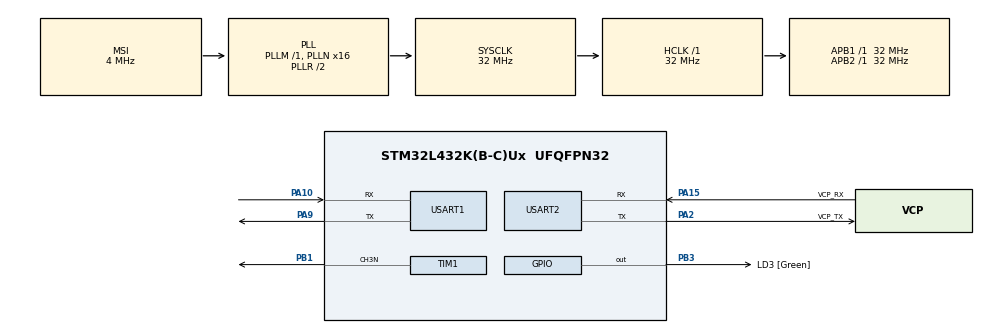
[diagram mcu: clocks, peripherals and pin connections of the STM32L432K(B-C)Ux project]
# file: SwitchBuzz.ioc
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Dma.Request0=USART1_RX
Dma.USART1_RX.0.Direction=DMA_PERIPH_TO_MEMORY
Dma.USART1_RX.0.Instance=DMA1_Channel5
Dma.USART1_RX.0.MemDataAlignment=DMA_MDATAALIGN_BYTE
Dma.USART1_RX.0.MemInc=DMA_MINC_ENABLE
Dma.USART1_RX.0.Mode=DMA_CIRCULAR
Dma.USART1_RX.0.PeriphDataAlignment=DMA_PDATAALIGN_BYTE
Dma.USART1_RX.0.PeriphInc=DMA_PINC_DISABLE
Dma.USART1_RX.0.Priority=DMA_PRIORITY_LOW
FREERTOS.Tasks01=t1_Buzzer,24,128,START_Buzzer,Default,NULL,Dynamic,NULL,NULL;t2_Listener,8,128,START_Listener,Default,NULL,Dynamic,NULL,NULL;t3_Wifi_Listene,8,128,START_Wifi_Listener,Default,NULL,Dynamic,NULL,NULL;t4_Wifi_Starter,8,128,START_Wifi_Starter,Default,NULL,Dynamic,NULL,NULL
FREERTOS.configUSE_NEWLIB_REENTRANT=1
Mcu.Family=STM32L4
Mcu.Name=STM32L432K(B-C)Ux
Mcu.Package=UFQFPN32
NVIC.DMA1_Channel5_IRQn=true\:5\:0\:false\:false\:true\:true\:false\:true\:true
NVIC.PriorityGroup=NVIC_PRIORITYGROUP_4
NVIC.TIM6_DAC_IRQn=true\:15\:0\:false\:false\:true\:false\:false\:true\:true
NVIC.TimeBase=TIM6_DAC_IRQn
NVIC.TimeBaseIP=TIM6
NVIC.USART1_IRQn=true\:5\:0\:false\:false\:true\:true\:true\:true\:true
NVIC.USART2_IRQn=true\:5\:0\:false\:false\:true\:true\:true\:true\:true
PA0.GPIO_Label=MCO [High speed clock in]
PA0.Mode=HSE-External-Clock-Source-for-LittleOrca
PA0.Signal=RCC_CK_IN
PA10.Mode=Asynchronous
PA10.Signal=USART1_RX
PA13\ (JTMS-SWDIO).GPIO_Label=SWDIO
PA13\ (JTMS-SWDIO).Mode=Serial_Wire
PA13\ (JTMS-SWDIO).Signal=SYS_JTMS-SWDIO
PA14\ (JTCK-SWCLK).GPIO_Label=SWCLK
PA14\ (JTCK-SWCLK).Mode=Serial_Wire
PA14\ (JTCK-SWCLK).Signal=SYS_JTCK-SWCLK
PA15\ (JTDI).GPIO_Label=VCP_RX
PA15\ (JTDI).Mode=Asynchronous
PA15\ (JTDI).Signal=USART2_RX
PA2.GPIO_Label=VCP_TX
PA2.Mode=Asynchronous
PA2.Signal=USART2_TX
PA9.Mode=Asynchronous
PA9.Signal=USART1_TX
PB1.Mode=PWM Generation3 CH3N
PB1.Signal=TIM1_CH3N
PB3\ (JTDO-TRACESWO).GPIO_Label=LD3 [Green]
PB3\ (JTDO-TRACESWO).Signal=GPIO_Output
PC14-OSC32_IN\ (PC14).Mode=LSE-External-Oscillator
PC14-OSC32_IN\ (PC14).Signal=RCC_OSC32_IN
PC15-OSC32_OUT\ (PC15).Mode=LSE-External-Oscillator
PC15-OSC32_OUT\ (PC15).Signal=RCC_OSC32_OUT
ProjectManager.HeapSize=0x200
ProjectManager.StackSize=0x400
ProjectManager.TargetToolchain=STM32CubeIDE
RCC.AHBFreq_Value=32000000
RCC.APB1Freq_Value=32000000
RCC.APB1TimFreq_Value=32000000
RCC.APB2Freq_Value=32000000
RCC.APB2TimFreq_Value=32000000
RCC.CortexFreq_Value=32000000
RCC.HCLKFreq_Value=32000000
RCC.HSE_VALUE=8000000
RCC.HSI16_VALUE=16000000
RCC.HSI48_VALUE=48000000
RCC.HSI_VALUE=16000000
RCC.MSI_VALUE=4000000
RCC.PLLMUL=RCC_PLLMUL_4
RCC.PLLN=16
RCC.SYSCLKFreq_VALUE=32000000
RCC.SYSCLKSource=RCC_SYSCLKSOURCE_PLLCLK
RCC.VCOOutputFreq_Value=64000000
TIM1.Channel-PWM\ Generation3\ CH3N=TIM_CHANNEL_3
TIM1.Period=2000
TIM1.Prescaler=32
TIM1.Pulse-PWM\ Generation3\ CH3N=500-1
USART1.VirtualMode-Asynchronous=VM_ASYNC
USART2.VirtualMode-Asynchronous=VM_ASYNC
VP_FREERTOS_VS_CMSIS_V2.Mode=CMSIS_V2
VP_SYS_VS_tim6.Mode=TIM6
VP_TIM1_VS_ClockSourceINT.Mode=Internal
board=NUCLEO-L432KC

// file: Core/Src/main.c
/* USER CODE BEGIN Header */
/**
  ******************************************************************************
  * @file           : main.c
  * @brief          : Main program body
  ******************************************************************************
  * @attention
  *
  * Copyright (c) 2023 STMicroelectronics.
  * All rights reserved.
  *
  * This software is licensed under terms that can be found in the LICENSE file
  * in the root directory of this software component.
  * If no LICENSE file comes with this software, it is provided AS-IS.
  *
  ******************************************************************************
  */
/* USER CODE END Header */
#include "main.h"
#include "cmsis_os.h"

/* USER CODE BEGIN Includes */
#include "stdio.h"
#include "wifiClick.h"
#include "printf.h"
/* USER CODE END Includes */

TIM_HandleTypeDef htim1;

UART_HandleTypeDef huart1;
UART_HandleTypeDef huart2;
DMA_HandleTypeDef hdma_usart1_rx;

/* Definitions for t1_Buzzer */
osThreadId_t t1_BuzzerHandle;
const osThreadAttr_t t1_Buzzer_attributes = {
  .name = "t1_Buzzer",
  .stack_size = 128 * 4,
  .priority = (osPriority_t) osPriorityNormal,
};
/* Definitions for t2_Listener */
osThreadId_t t2_ListenerHandle;
const osThreadAttr_t t2_Listener_attributes = {
  .name = "t2_Listener",
  .stack_size = 128 * 4,
  .priority = (osPriority_t) osPriorityLow,
};
/* Definitions for t3_Wifi_Listene */
osThreadId_t t3_Wifi_ListeneHandle;
const osThreadAttr_t t3_Wifi_Listene_attributes = {
  .name = "t3_Wifi_Listene",
  .stack_size = 128 * 4,
  .priority = (osPriority_t) osPriorityLow,
};
/* Definitions for t4_Wifi_Starter */
osThreadId_t t4_Wifi_StarterHandle;
const osThreadAttr_t t4_Wifi_Starter_attributes = {
  .name = "t4_Wifi_Starter",
  .stack_size = 128 * 4,
  .priority = (osPriority_t) osPriorityLow,
};
/* USER CODE BEGIN PV */
/* * * * * * * * * * * * * * * * * * * * * * * * * * * * * * * * * *
 *																   *
 *  Clock Frequency: 80MHz										   *
 *  PWM Transmission Time for one 1 Bit: 1.25us					   *
 * 	PWM Frequency: 1/1.25us = 800kHz							   *
 * 	TIM1 Auto Reload Register: 800kHz/800kHz=100				   *
 * 	TIM1 Capture Compare Register: 57/31						   *
 *																   *
 * * * * * * * * * * * * * * * * * * * * * * * * * * * * * * * * * *
 *
 * 	Received Data Codes
 * 	==================
 * 	a = middle --> 500
 * 	b = out of scope --> 5.000
 * 	c = shake detected --> 10.000
 * 	d = light shift lo --> 1000
 * 	e = light shift lu --> 1000 - 42*1
 * 	f = light shift ro --> 1000
 * 	g = light shift ru --> 1000 - 42*1
 * 	h = strong shift r1c1 --> 2000
 * 	i = strong shift r1c2 --> 2000 - 84*1
 * 	j = strong shift r1c3 --> 2000 - 84*2
 * 	k = strong shift r1c4 --> 2000 - 84*3
 * 	l = strong shift r2c1 --> 2000 - 84*4
 * 	m = strong shift r2c4 --> 2000 - 84*5
 * 	n = strong shift r3c1 --> 2000 - 84*4
 * 	o = strong shift r3c4 --> 2000 - 84*5
 * 	p = strong shift r4c1 --> 2000
 * 	q = strong shift r4c2 --> 2000 - 84*1
 * 	r = strong shift r4c3 --> 2000 - 84*2
 * 	s = strong shift r4c4 --> 2000 - 84*3
 *
 */
/**
 * rx_x variables are used in the f4_set_TIM_Register() function, which is called in the START_Buzzer task
 * based on the fields of the 4x4 RGB-Click, the rx_x variables are used to set an according sound by changing the ARR-value of TIM
 * the sounds between the levels "middle - light shift - strong shift" are one octave apart. The sounds within a level vary by half-tone steps
 */
const int rx_a = 500;
const int rx_b = 5000;
const int rx_c = 10000;
const int rx_d = 1000;
const int rx_e = 1000 - (42*1);
const int rx_f = 1000;
const int rx_g = 1000 - (42*1);
const int rx_h = 2000;
const int rx_i = 2000 - 84*1;
const int rx_j = 2000 - 84*2;
const int rx_k = 2000 - 84*3;
const int rx_l = 2000 - 84*4;
const int rx_m = 2000 - 84*5;
const int rx_n = 2000 - 84*4;
const int rx_o = 2000 - 84*5;
const int rx_p = 2000;
const int rx_q = 2000 - 84*1;
const int rx_r = 2000 - 84*2;
const int rx_s = 2000 - 84*3;

/**
 * @param rx_wifi: will be written during runtime by the Wifi_Click.
 * It is the comparison variable used in the switch-case block of the t3_Wifi_Listener task
 */
volatile char rx_wifi = 0;
/**
 * @param rx_uart: will receive values via UART during runtime.
 * It is the comparison variable used in the switch-case block of the t1_Buzzer task
 */
volatile char rx_uart = 0;
/* USER CODE END PV */

void SystemClock_Config(void);
static void MX_GPIO_Init(void);
static void MX_DMA_Init(void);
static void MX_USART2_UART_Init(void);
static void MX_TIM1_Init(void);
static void MX_USART1_UART_Init(void);
void START_Buzzer(void *argument);
void START_Listener(void *argument);
void START_Wifi_Listener(void *argument);
void START_Wifi_Starter(void *argument);

/* USER CODE BEGIN PFP */
void f4_set_TIM_Register(int x);
void f4_send_UART();

/* USER CODE END PFP */

int main(void)
{

  /* MCU Configuration--------------------------------------------------------*/

  /* Reset of all peripherals, Initializes the Flash interface and the Systick. */
  HAL_Init();

  /* Configure the system clock */
  SystemClock_Config();

  /* Initialize all configured peripherals */
  MX_GPIO_Init();
  MX_DMA_Init();
  MX_USART2_UART_Init();
  MX_TIM1_Init();
  MX_USART1_UART_Init();

  /* Init scheduler */
  osKernelInitialize();

  /* Create the thread(s) */
  /* creation of t1_Buzzer */
  t1_BuzzerHandle = osThreadNew(START_Buzzer, NULL, &t1_Buzzer_attributes);

  /* creation of t2_Listener */
  t2_ListenerHandle = osThreadNew(START_Listener, NULL, &t2_Listener_attributes);

  /* creation of t3_Wifi_Listene */
  t3_Wifi_ListeneHandle = osThreadNew(START_Wifi_Listener, NULL, &t3_Wifi_Listene_attributes);

  /* creation of t4_Wifi_Starter */
  t4_Wifi_StarterHandle = osThreadNew(START_Wifi_Starter, NULL, &t4_Wifi_Starter_attributes);

  /* Start scheduler */
  osKernelStart();

  /* We should never get here as control is now taken by the scheduler */
  /* Infinite loop */
  while (1)
  {

  }
}

void SystemClock_Config(void)
{
  RCC_OscInitTypeDef RCC_OscInitStruct = {0};
  RCC_ClkInitTypeDef RCC_ClkInitStruct = {0};

  /** Configure the main internal regulator output voltage
  */
  if (HAL_PWREx_ControlVoltageScaling(PWR_REGULATOR_VOLTAGE_SCALE1) != HAL_OK)
  {
    Error_Handler();
  }

  /** Configure LSE Drive Capability
  */
  HAL_PWR_EnableBkUpAccess();
  __HAL_RCC_LSEDRIVE_CONFIG(RCC_LSEDRIVE_LOW);

  /** Initializes the RCC Oscillators according to the specified parameters
  * in the RCC_OscInitTypeDef structure.
  */
  RCC_OscInitStruct.OscillatorType = RCC_OSCILLATORTYPE_LSE|RCC_OSCILLATORTYPE_MSI;
  RCC_OscInitStruct.LSEState = RCC_LSE_ON;
  RCC_OscInitStruct.MSIState = RCC_MSI_ON;
  RCC_OscInitStruct.MSICalibrationValue = 0;
  RCC_OscInitStruct.MSIClockRange = RCC_MSIRANGE_6;
  RCC_OscInitStruct.PLL.PLLState = RCC_PLL_ON;
  RCC_OscInitStruct.PLL.PLLSource = RCC_PLLSOURCE_MSI;
  RCC_OscInitStruct.PLL.PLLM = 1;
  RCC_OscInitStruct.PLL.PLLN = 16;
  RCC_OscInitStruct.PLL.PLLP = RCC_PLLP_DIV7;
  RCC_OscInitStruct.PLL.PLLQ = RCC_PLLQ_DIV2;
  RCC_OscInitStruct.PLL.PLLR = RCC_PLLR_DIV2;
  if (HAL_RCC_OscConfig(&RCC_OscInitStruct) != HAL_OK)
  {
    Error_Handler();
  }

  /** Initializes the CPU, AHB and APB buses clocks
  */
  RCC_ClkInitStruct.ClockType = RCC_CLOCKTYPE_HCLK|RCC_CLOCKTYPE_SYSCLK
                              |RCC_CLOCKTYPE_PCLK1|RCC_CLOCKTYPE_PCLK2;
  RCC_ClkInitStruct.SYSCLKSource = RCC_SYSCLKSOURCE_PLLCLK;
  RCC_ClkInitStruct.AHBCLKDivider = RCC_SYSCLK_DIV1;
  RCC_ClkInitStruct.APB1CLKDivider = RCC_HCLK_DIV1;
  RCC_ClkInitStruct.APB2CLKDivider = RCC_HCLK_DIV1;

  if (HAL_RCC_ClockConfig(&RCC_ClkInitStruct, FLASH_LATENCY_1) != HAL_OK)
  {
    Error_Handler();
  }

  /** Enable MSI Auto calibration
  */
  HAL_RCCEx_EnableMSIPLLMode();
}

static void MX_TIM1_Init(void)
{

  TIM_ClockConfigTypeDef sClockSourceConfig = {0};
  TIM_MasterConfigTypeDef sMasterConfig = {0};
  TIM_OC_InitTypeDef sConfigOC = {0};
  TIM_BreakDeadTimeConfigTypeDef sBreakDeadTimeConfig = {0};

  htim1.Instance = TIM1;
  htim1.Init.Prescaler = 32;
  htim1.Init.CounterMode = TIM_COUNTERMODE_UP;
  htim1.Init.Period = 2000;
  htim1.Init.ClockDivision = TIM_CLOCKDIVISION_DIV1;
  htim1.Init.RepetitionCounter = 0;
  htim1.Init.AutoReloadPreload = TIM_AUTORELOAD_PRELOAD_DISABLE;
  if (HAL_TIM_Base_Init(&htim1) != HAL_OK)
  {
    Error_Handler();
  }
  sClockSourceConfig.ClockSource = TIM_CLOCKSOURCE_INTERNAL;
  if (HAL_TIM_ConfigClockSource(&htim1, &sClockSourceConfig) != HAL_OK)
  {
    Error_Handler();
  }
  if (HAL_TIM_PWM_Init(&htim1) != HAL_OK)
  {
    Error_Handler();
  }
  sMasterConfig.MasterOutputTrigger = TIM_TRGO_RESET;
  sMasterConfig.MasterOutputTrigger2 = TIM_TRGO2_RESET;
  sMasterConfig.MasterSlaveMode = TIM_MASTERSLAVEMODE_DISABLE;
  if (HAL_TIMEx_MasterConfigSynchronization(&htim1, &sMasterConfig) != HAL_OK)
  {
    Error_Handler();
  }
  sConfigOC.OCMode = TIM_OCMODE_PWM1;
  sConfigOC.Pulse = 500-1;
  sConfigOC.OCPolarity = TIM_OCPOLARITY_HIGH;
  sConfigOC.OCNPolarity = TIM_OCNPOLARITY_HIGH;
  sConfigOC.OCFastMode = TIM_OCFAST_DISABLE;
  sConfigOC.OCIdleState = TIM_OCIDLESTATE_RESET;
  sConfigOC.OCNIdleState = TIM_OCNIDLESTATE_RESET;
  if (HAL_TIM_PWM_ConfigChannel(&htim1, &sConfigOC, TIM_CHANNEL_3) != HAL_OK)
  {
    Error_Handler();
  }
  sBreakDeadTimeConfig.OffStateRunMode = TIM_OSSR_DISABLE;
  sBreakDeadTimeConfig.OffStateIDLEMode = TIM_OSSI_DISABLE;
  sBreakDeadTimeConfig.LockLevel = TIM_LOCKLEVEL_OFF;
  sBreakDeadTimeConfig.DeadTime = 0;
  sBreakDeadTimeConfig.BreakState = TIM_BREAK_DISABLE;
  sBreakDeadTimeConfig.BreakPolarity = TIM_BREAKPOLARITY_HIGH;
  sBreakDeadTimeConfig.BreakFilter = 0;
  sBreakDeadTimeConfig.Break2State = TIM_BREAK2_DISABLE;
  sBreakDeadTimeConfig.Break2Polarity = TIM_BREAK2POLARITY_HIGH;
  sBreakDeadTimeConfig.Break2Filter = 0;
  sBreakDeadTimeConfig.AutomaticOutput = TIM_AUTOMATICOUTPUT_DISABLE;
  if (HAL_TIMEx_ConfigBreakDeadTime(&htim1, &sBreakDeadTimeConfig) != HAL_OK)
  {
    Error_Handler();
  }
  HAL_TIM_MspPostInit(&htim1);

}

static void MX_USART1_UART_Init(void)
{

  huart1.Instance = USART1;
  huart1.Init.BaudRate = 115200;
  huart1.Init.WordLength = UART_WORDLENGTH_8B;
  huart1.Init.StopBits = UART_STOPBITS_1;
  huart1.Init.Parity = UART_PARITY_NONE;
  huart1.Init.Mode = UART_MODE_TX_RX;
  huart1.Init.HwFlowCtl = UART_HWCONTROL_NONE;
  huart1.Init.OverSampling = UART_OVERSAMPLING_16;
  huart1.Init.OneBitSampling = UART_ONE_BIT_SAMPLE_DISABLE;
  huart1.AdvancedInit.AdvFeatureInit = UART_ADVFEATURE_NO_INIT;
  if (HAL_UART_Init(&huart1) != HAL_OK)
  {
    Error_Handler();
  }

}

static void MX_USART2_UART_Init(void)
{

  huart2.Instance = USART2;
  huart2.Init.BaudRate = 115200;
  huart2.Init.WordLength = UART_WORDLENGTH_8B;
  huart2.Init.StopBits = UART_STOPBITS_1;
  huart2.Init.Parity = UART_PARITY_NONE;
  huart2.Init.Mode = UART_MODE_TX_RX;
  huart2.Init.HwFlowCtl = UART_HWCONTROL_NONE;
  huart2.Init.OverSampling = UART_OVERSAMPLING_16;
  huart2.Init.OneBitSampling = UART_ONE_BIT_SAMPLE_DISABLE;
  huart2.AdvancedInit.AdvFeatureInit = UART_ADVFEATURE_NO_INIT;
  if (HAL_UART_Init(&huart2) != HAL_OK)
  {
    Error_Handler();
  }

}

static void MX_DMA_Init(void)
{

  /* DMA controller clock enable */
  __HAL_RCC_DMA1_CLK_ENABLE();

  /* DMA interrupt init */
  /* DMA1_Channel5_IRQn interrupt configuration */
  HAL_NVIC_SetPriority(DMA1_Channel5_IRQn, 5, 0);
  HAL_NVIC_EnableIRQ(DMA1_Channel5_IRQn);

}

static void MX_GPIO_Init(void)
{
  GPIO_InitTypeDef GPIO_InitStruct = {0};

  /* GPIO Ports Clock Enable */
  __HAL_RCC_GPIOC_CLK_ENABLE();
  __HAL_RCC_GPIOA_CLK_ENABLE();
  __HAL_RCC_GPIOB_CLK_ENABLE();

  /*Configure GPIO pin Output Level */
  HAL_GPIO_WritePin(LD3_GPIO_Port, LD3_Pin, GPIO_PIN_RESET);

  /*Configure GPIO pin : LD3_Pin */
  GPIO_InitStruct.Pin = LD3_Pin;
  GPIO_InitStruct.Mode = GPIO_MODE_OUTPUT_PP;
  GPIO_InitStruct.Pull = GPIO_NOPULL;
  GPIO_InitStruct.Speed = GPIO_SPEED_FREQ_LOW;
  HAL_GPIO_Init(LD3_GPIO_Port, &GPIO_InitStruct);

}

/* USER CODE BEGIN 4 */
/**
 * @brief Sets the sound of the Buzz-Click by writing into the Auto-Reload-Register and the Captcher-Compare-Register of TIM1.
 * if the parameter value x = 0, the Buzz-Click will be silenced
 * @param x is one of the rx_x values
 */
void f4_set_TIM_Register(int x)
{
	if(x != NULL)
	{
		if(x == 0){
			TIM1 -> ARR = 0;
			TIM1 -> CCR1 = 0;
		} else
		{
			TIM1 -> ARR = x;
			TIM1 -> CCR3 = (x/2);
		}
	}

}
/**
 * @brief Sends back the typed in value from the UART-Monitor
 * @retval None
 */
void f4_send_UART()
{
	printf("You pressed: %c\n", rx_uart);
}
/* USER CODE END 4 */

/* USER CODE BEGIN Header_START_Buzzer */
/**
  * @brief  Function implementing the t1_Buzzer thread. Starts the PWM and calls the f4_set_TIM_Register() function to set the sound of the Buzz-Click.
  * If any other values than defined by the switch-case are written into rx_uart, the Buzz-Click will be silenced
  * If the user enters 'X', the t1_Buzzer task will kill itself, in order not to interfere with the t3_Wifi_Listener task
  * @param  argument: Not used
  * @retval None
  */
/* USER CODE END Header_START_Buzzer */
void START_Buzzer(void *argument)
{
  /* USER CODE BEGIN 5 */
	if (HAL_TIM_PWM_Start(&htim1, TIM_CHANNEL_3) != HAL_OK){
		printf("PWM didn't start. Try to refresh the project")
	}
	printf("Enter Value a-s\nIf X is entered the task will end.\n");
  /* Infinite loop */
  for(;;)
  {
    switch(rx_uart)
    {
    case 'a': f4_set_TIM_Register(rx_a); continue;
    case 'b': f4_set_TIM_Register(rx_b); continue;
    case 'c': f4_set_TIM_Register(rx_c); continue;
    case 'd': f4_set_TIM_Register(rx_d); continue;
    case 'e': f4_set_TIM_Register(rx_e); continue;
    case 'f': f4_set_TIM_Register(rx_f); continue;
    case 'g': f4_set_TIM_Register(rx_g); continue;
    case 'h': f4_set_TIM_Register(rx_h); continue;
    case 'i': f4_set_TIM_Register(rx_i); continue;
    case 'j': f4_set_TIM_Register(rx_j); continue;
    case 'k': f4_set_TIM_Register(rx_k); continue;
    case 'l': f4_set_TIM_Register(rx_l); continue;
    case 'm': f4_set_TIM_Register(rx_m); continue;
    case 'n': f4_set_TIM_Register(rx_n); continue;
    case 'o': f4_set_TIM_Register(rx_o); continue;
    case 'p': f4_set_TIM_Register(rx_p); continue;
    case 'q': f4_set_TIM_Register(rx_q); continue;
    case 'r': f4_set_TIM_Register(rx_r); continue;
    case 's': f4_set_TIM_Register(rx_s); continue;
    case 'X': osThreadExit();
    default: f4_set_TIM_Register(0); osDelay(1000);
    }

  }
  /* USER CODE END 5 */
}

/* USER CODE BEGIN Header_START_Listener */
/**
* @brief Function implementing the t2_Listener thread. Receives (hopefully) character values from the UART-Monitor and writes it into the rx_uart variable.
* @param argument: Not used
* @retval None
*/
/* USER CODE END Header_START_Listener */
void START_Listener(void *argument)
{
  /* USER CODE BEGIN START_Listener */
uint8_t buff;
f4_send_UART(rx_uart);
  for(;;)
  {
    osDelay(1);
// if(HAL_UART_Receive_IT(&huart2, &buff, 1)))
    if(HAL_UART_Receive_IT(&huart2, &buff, 1))
    	{
    	rx_uart = (char)buff;
    	}

  }
  /* USER CODE END START_Listener */
}

/* USER CODE BEGIN Header_START_Wifi_Listener */
/**
* @brief Function implementing the t3_Wifi_Listene thread. Calls the f4_set_TIM_Register() function according to the received values in rx_wifi.
* @param argument: Not used
* @retval None
*/
/* USER CODE END Header_START_Wifi_Listener */
void START_Wifi_Listener(void *argument)
{
  /* USER CODE BEGIN START_Wifi_Listener */
  /* Infinite loop */
  for(;;)
  {

    osDelay(1);
    switch(rx_wifi)
       {
       case 'a': f4_set_TIM_Register(rx_a); continue;
       case 'b': f4_set_TIM_Register(rx_b); continue;
       case 'c': f4_set_TIM_Register(rx_c); continue;
       case 'd': f4_set_TIM_Register(rx_d); continue;
       case 'e': f4_set_TIM_Register(rx_e); continue;
       case 'f': f4_set_TIM_Register(rx_f); continue;
       case 'g': f4_set_TIM_Register(rx_g); continue;
       case 'h': f4_set_TIM_Register(rx_h); continue;
       case 'i': f4_set_TIM_Register(rx_i); continue;
       case 'j': f4_set_TIM_Register(rx_j); continue;
       case 'k': f4_set_TIM_Register(rx_k); continue;
       case 'l': f4_set_TIM_Register(rx_l); continue;
       case 'm': f4_set_TIM_Register(rx_m); continue;
       case 'n': f4_set_TIM_Register(rx_n); continue;
       case 'o': f4_set_TIM_Register(rx_o); continue;
       case 'p': f4_set_TIM_Register(rx_p); continue;
       case 'q': f4_set_TIM_Register(rx_q); continue;
       case 'r': f4_set_TIM_Register(rx_r); continue;
       case 's': f4_set_TIM_Register(rx_s); continue;
       default: f4_set_TIM_Register(0); osDelay(1000);
       }
  }
  /* USER CODE END START_Wifi_Listener */
}

/* USER CODE BEGIN Header_START_Wifi_Starter */
/**
* @brief Function implementing the t4_Wifi_Starter thread. Starts the Wifi-Click that writes values into the rx_wifi variable.
* @param argument: Not used
* @retval None
*/
/* USER CODE END Header_START_Wifi_Starter */
void START_Wifi_Starter(void *argument)
{
  /* USER CODE BEGIN START_Wifi_Starter */
	StartWifiClick(argument);
	osThreadExit();
  /* USER CODE END START_Wifi_Starter */
}

void HAL_TIM_PeriodElapsedCallback(TIM_HandleTypeDef *htim)
{
  if (htim->Instance == TIM6) {
    HAL_IncTick();
  }
}

void Error_Handler(void)
{
  __disable_irq();
  while (1)
  {
  }
}
